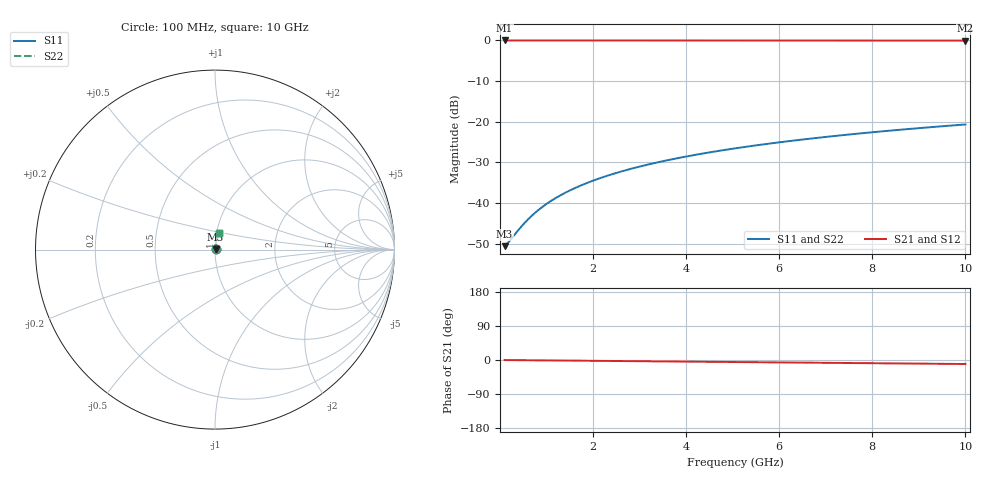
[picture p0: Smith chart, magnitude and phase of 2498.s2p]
# Hz S RI R 50.00
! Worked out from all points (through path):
!   100 points, 100 MHz to 10 GHz, reference 50 ohm
!   highest |S21| = -0.02 dB at 100 MHz (marker M1); lowest = -0.1 dB at 10 GHz (marker M2)
!   group delay of S21, straight-line fit = 2.94 ps
!   lowest |S11| = -50.6 dB at 100 MHz (marker M3), VSWR 1.01, Z = 50.3 + j0.0928 ohm
!   |S11| at or under -10 dB: start of sweep to end of sweep
!   |S22| runs from -50.6 to -20.7 dB; largest |S21 - S12| = 0
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1e8  0.00279 0.000923  0.9972 -0.00184  0.9972 -0.00184  0.00279 0.000923
2e8  0.00281 0.00185  0.9972 -0.00369  0.9972 -0.00369  0.00281 0.00185
4e8  0.00286 0.00369  0.9971 -0.00738  0.9971 -0.00738  0.00286 0.00369
5e8  0.00288 0.00461  0.9971 -0.00922  0.9971 -0.00922  0.00288 0.00461
6e8  0.00291 0.00554  0.9971 -0.0111  0.9971 -0.0111  0.00291 0.00554
7e8  0.00294 0.00646  0.997 -0.0129  0.997 -0.0129  0.00294 0.00646
9e8  0.003 0.0083  0.997 -0.0166  0.997 -0.0166  0.003 0.0083
1.1e9  0.00308 0.0101  0.9969 -0.0203  0.9969 -0.0203  0.00308 0.0101
1.3e9  0.00317 0.012  0.9967 -0.024  0.9967 -0.024  0.00317 0.012
1.5e9  0.00328 0.0138  0.9966 -0.0277  0.9966 -0.0277  0.00328 0.0138
1.8e9  0.00346 0.0166  0.9964 -0.0332  0.9964 -0.0332  0.00346 0.0166
2.1e9  0.00367 0.0194  0.9961 -0.0387  0.9961 -0.0387  0.00367 0.0194
2.5e9  0.004 0.023  0.9957 -0.0461  0.9957 -0.0461  0.004 0.023
2.9e9  0.00438 0.0267  0.9952 -0.0534  0.9952 -0.0534  0.00438 0.0267
3.4e9  0.00493 0.0313  0.9946 -0.0626  0.9946 -0.0626  0.00493 0.0313
4.2e9  0.00598 0.0386  0.9932 -0.0773  0.9932 -0.0773  0.00598 0.0386
5.1e9  0.00743 0.0468  0.9914 -0.0938  0.9914 -0.0938  0.00743 0.0468
5.9e9  0.00894 0.054  0.9895 -0.1084  0.9895 -0.1084  0.00894 0.054
6.7e9  0.0107 0.0612  0.9874 -0.123  0.9874 -0.123  0.0107 0.0612
7.5e9  0.0126 0.0683  0.9849 -0.1376  0.9849 -0.1376  0.0126 0.0683
8.4e9  0.015 0.0762  0.9819 -0.1538  0.9819 -0.1538  0.015 0.0762
1e10  0.02 0.0901  0.9756 -0.1826  0.9756 -0.1826  0.02 0.0901
